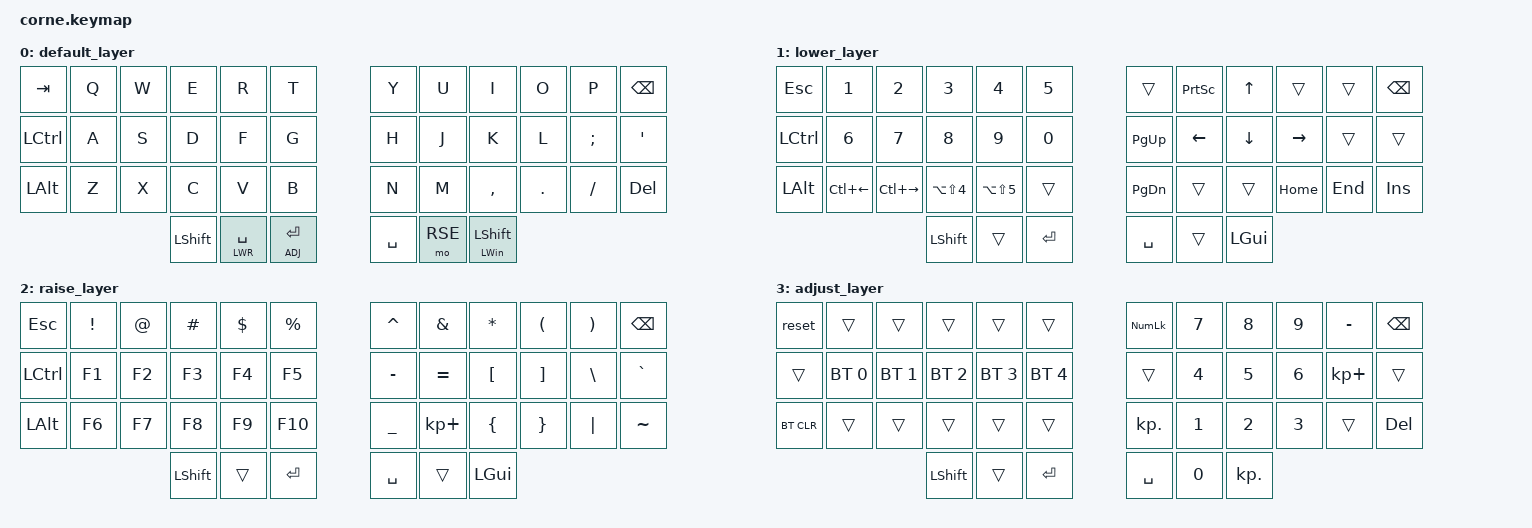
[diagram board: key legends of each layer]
/*
 * Copyright (c) 2020 The ZMK Contributors
 *
 * SPDX-License-Identifier: MIT
 */

#include <behaviors.dtsi>
#include <dt-bindings/zmk/keys.h>
#include <dt-bindings/zmk/bt.h>
#include <dt-bindings/zmk/ext_power.h>

#define DEF 0
#define LWR 1
#define RSE 2
#define ADJ 3

&lt { quick_tap_ms = <200>; };
&mt { quick_tap_ms = <200>; };

/ {
        keymap {
                compatible = "zmk,keymap";

                default_layer {
// .-------------------------------------------------------.       .-----------------------------------------------------------.
// |  TAB  |    Q    |    W   |   E    |    R    |    T    |       |   Y   |    U    |     I     |    O    |     P    |   BSPC   |
// |-------+---------+--------+--------+---------+---------|       |-------+---------+-----------+---------+----------+----------|
// |  CTRL |    A    |    S   |   D    |    F    |    G    |       |   H   |    J    |     K     |    L    |     ;    |     '    |
// |-------+---------+--------+--------+---------+---------|       |-------+---------+-----------+---------+----------+----------|
// |  ALT  |    Z    |    X   |   C    |    V    |    B    |       |   N   |    M    |     ,     |    .    |     /    |    DEL   |
// '--------------------------+--------+---------+---------+       |-------+---------+-----------+-------------------------------'
//                            |  SHFT  | LWR/SPC | ADJ/ENT |       | SPACE | RSE.    |LGUI/LSHFT |
//                            '--------+---------+---------'       '-------+---------+-----------'
                        bindings = <
     &kp TAB    &kp Q  &kp W  &kp E  &kp R  &kp T                  &kp Y  &kp U  &kp I      &kp O    &kp P     &kp BSPC
     &kp LCTRL  &kp A  &kp S  &kp D  &kp F  &kp G                  &kp H  &kp J  &kp K      &kp L    &kp SEMI  &kp SQT
     &kp LALT   &kp Z  &kp X  &kp C  &kp V  &kp B                  &kp N  &kp M  &kp COMMA  &kp DOT  &kp FSLH  &kp DELETE
           &kp LSHFT  &lt LWR SPACE &lt ADJ ENTER                  &kp SPACE  &mo RSE &mt LWIN LSHFT
                        >;
                };
  
                 lower_layer {
// .----------------------------------------------------------.       .-----------------------------------------------------.
// |    ESC    |   1   |   2    |   3    |    4    |    5     |       |        |  PSCRN |    UP   |        |        |  BSPC |
// |-----------+-------+--------+--------+---------+----------|       |--------+--------+---------+--------+--------+-------|
// |    CTRL   |   6   |   7    |   8    |    9    |    0     |       |  PG_UP |  LEFT  |   DOWN  |  RIGHT |        |       |
// |-----------+-------+--------+--------+---------+----------|       |--------+--------+---------+--------+--------+-------|
// |    ALT    |  C+L  |  C+R   | A+S+4  |  A+S+5  |          |       |  PG_DN |        |         |  HOME  |   END  |  INS  |
// '----------------------------+--------+---------+----------+       |--------+--------+---------+-------------------------'
//                              |  SHFT  |         |   ENTER  |       | SPACE  |        |  LGUI   |
//                              '--------+---------+----------'       '--------+--------+---------'

                        bindings = <
   &kp ESC     &kp N1           &kp N2           &kp N3                &kp N4                &kp N5             &trans      &kp PSCRN   &kp UP     &trans     &trans   &kp BSPC
   &kp LCTRL   &kp N6           &kp N7           &kp N8                &kp N9                &kp N0             &kp PG_UP   &kp LEFT    &kp DOWN   &kp RIGHT  &trans   &trans
   &kp LALT    &kp LC(LEFT)     &kp LC(RIGHT)    &kp LA(LS(NUMBER_4))  &kp LA(LS(NUMBER_5))  &trans             &kp PG_DN   &trans      &trans     &kp HOME   &kp END  &kp INS
                        &kp LSHFT   &trans    &kp ENTER                                                         &kp SPACE   &trans      &kp LGUI
                        >;
                };
  
  
                  raise_layer {
// .------------------------------------------------------.       .-----------------------------------------------------.
// |   ESC   |   !    |   @    |   #    |   $    |    %   |       |    ^   |    &   |   *    |    (   |    )   |  BSPC  |
// |---------+--------+--------+--------+--------+--------|       |--------+--------+--------+--------+--------+--------|
// |   CTRL  |   F1   |   F2   |   F3   |   F4   |   F5   |       |    -   |    =   |    [   |    ]   |   \    |    `   |
// |---------+--------+--------+--------+--------+--------|       |--------+--------+--------+--------+--------+--------|
// |   ALT   |   F6   |   F7   |   F8   |   F9   |   F10   |       |    _   |    +   |    {   |    }   |   |    |    ~   |
// '---------------------------+--------+--------+--------+       |--------+--------+--------+--------------------------'
//                             |  SHFT  |        |  ENTER |       | SPACE  |        |  LGUI  |
//                             '--------+--------+--------'       '--------+--------+--------'
                        bindings = <
   &kp ESC   &kp EXCL  &kp AT    &kp HASH  &kp DLLR  &kp PRCNT       &kp CARET    &kp AMPS     &kp STAR   &kp LPAR   &kp RPAR  &kp BSPC
   &kp LCTRL &kp F1    &kp F2    &kp F3    &kp F4    &kp F5          &kp MINUS    &kp EQUAL    &kp LBKT   &kp RBKT   &kp BSLH  &kp GRAVE
   &kp LALT  &kp F6    &kp F7    &kp F8    &kp F9    &kp F10         &kp UNDER    &kp KP_PLUS  &kp LBRC   &kp RBRC   &kp PIPE  &kp TILDE
                              &kp LSHFT   &trans    &kp ENTER        &kp SPACE    &trans       &kp LGUI
                        >;
                };


                adjust_layer {
// .--------------------------------------------------------.       .------------------------------------------------------.
// |  reset  |        |        |        |         |         |       | NUMLOCK|    7   |    8   |    9   |    -   |   BSPC  |
// |---------+--------+--------+--------+---------+---------|       |--------+--------+--------+--------+--------+---------|
// |         |  BT1   |  BT2   |  BT3   |  BT4    |  BT5    |       |        |    4   |    5   |    6   |    +   |         |
// |---------+--------+--------+--------+---------+---------|       |--------+--------+--------+--------+--------+---------|
// |  BTCLR  |        |        |        |         |         |       |        |    1   |    2   |    3   |        |  DELETE |
// '---------------------------+--------+---------+---------+       |--------+--------+--------+---------------------------'
//                             |  SHFT   |         |  ENTER |       | SPACE  |    0   |    .   |
//                             '--------+---------+---------'       '--------+--------+--------'

                        bindings = <
   &reset      &trans        &trans        &trans        &trans          &trans            &kp KP_NUM   &kp N7  &kp N8  &kp N9  &kp MINUS    &kp BSPC
   &trans      &bt BT_SEL 0  &bt BT_SEL 1  &bt BT_SEL 2  &bt BT_SEL 3    &bt BT_SEL 4      &trans       &kp N4  &kp N5  &kp N6  &kp KP_PLUS  &trans
   &bt BT_CLR  &trans        &trans        &trans        &trans          &trans            &kp KP_DOT      &kp N1  &kp N2  &kp N3  &trans       &kp DELETE
                                                &kp LSHFT   &trans    &kp ENTER            &kp SPACE    &kp N0    &kp KP_DOT
                        >;
                };
         };
};
